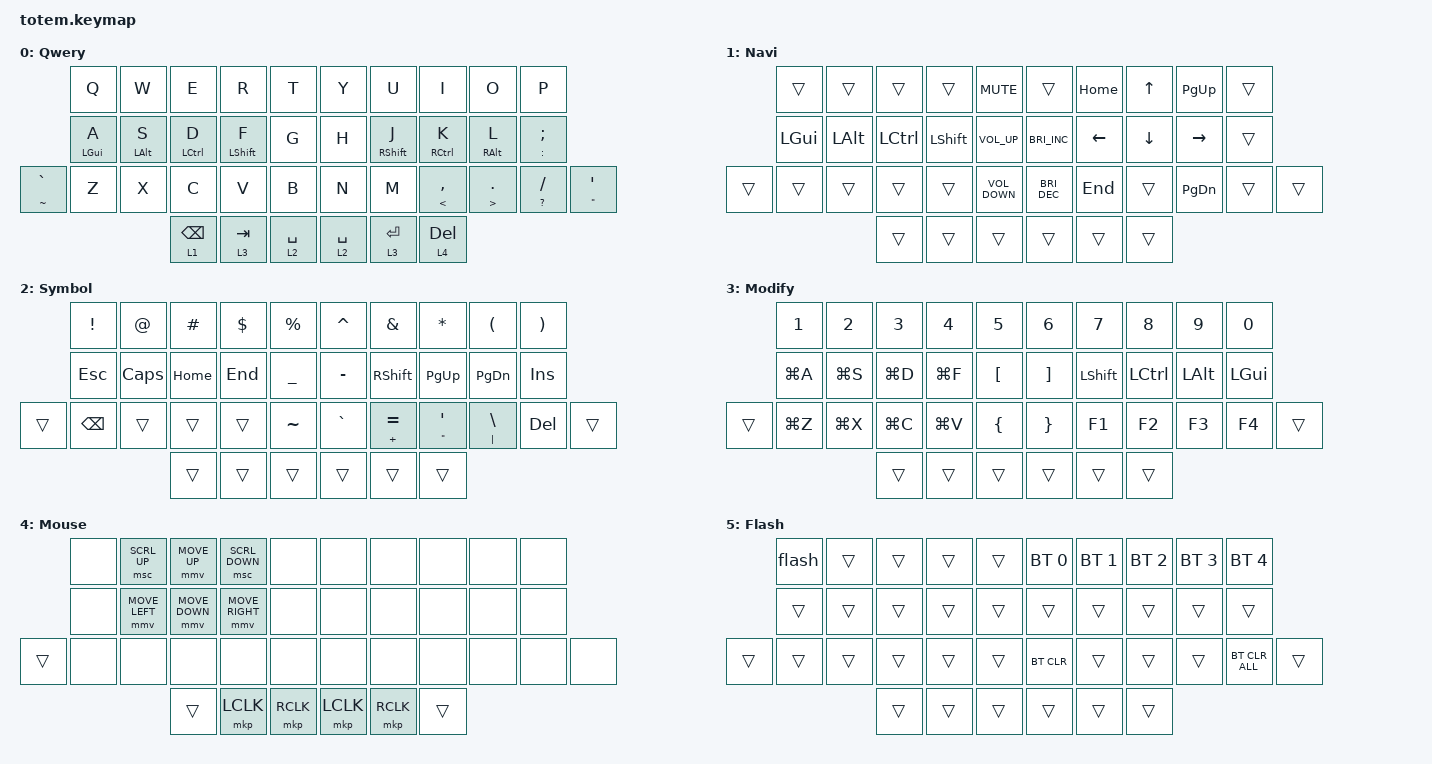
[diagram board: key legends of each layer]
//
//                                                        ▀▀▀▀▀     ▀▀▀▀▀          ▀▀█▀▀
//                                                        ▄▀▀▀▄  ▄  ▄▀▀▀▄  ▄  ▄▀▀▀▄  █  ▄▀▀▀▄
//                                                        █   █  █  █   █  █  █   █  █  █   █
//                                                         ▀▀▀   █   ▀▀▀   █   ▀▀▀   ▀   ▀▀▀
//                                                               █      ▄▄▄█▄▄▄    █   █  
//                                                               ▀      █  █  █     █▄█
//                                                             ▀▀▀▀▀    █  █  █      ▀
//                                                                      ▀  ▀  ▀
//
// ▄▄▄▄▄▄▄▄▄▄▄▄▄▄▄▄▄▄▄▄▄▄▄▄▄▄▄▄▄▄▄▄▄▄▄▄▄▄▄▄▄▄▄▄▄▄▄▄▄▄▄▄▄▄▄▄▄▄▄▄▄▄▄▄▄▄▄▄▄▄▄▄▄▄▄▄▄▄▄▄▄▄▄▄▄▄▄▄▄▄▄▄▄▄▄▄▄▄▄▄▄▄▄▄▄▄▄▄▄▄▄▄▄▄▄▄▄▄▄▄▄▄▄▄▄▄▄▄▄▄▄▄▄▄▄▄▄▄▄▄▄▄▄▄▄▄▄▄▄

#include <behaviors/mouse_keys.dtsi>
#include <behaviors.dtsi>
#include <dt-bindings/zmk/bt.h>
#include <dt-bindings/zmk/keys.h>
#include <dt-bindings/zmk/mouse.h>

#define BASE 0
#define NAV  1
#define SYM  2
#define ADJ  3
#define TVP1 4
#define TVP2 5

&mt {
    global-quick-tap;
    flavor = "tap-preferred";
    tapping-term-ms = <200>;
};

&sk {
    release-after-ms = <2000>;
    quick-release;
};

/ {
    combos {
        compatible = "zmk,combos";

        combo_esc {
            timeout-ms = <50>;
            key-positions = <0 1>;
            bindings = <&kp ESC>;
        };

        left_bkt {
            bindings = <&kp LEFT_BRACKET>;
            key-positions = <2 3>;
            timeout-ms = <50>;
        };

        right_bkt {
            bindings = <&kp RIGHT_BRACKET>;
            key-positions = <6 7>;
            timeout-ms = <50>;
        };

        left_par {
            bindings = <&kp LEFT_PARENTHESIS>;
            key-positions = <12 13>;
            timeout-ms = <50>;
        };

        right_par {
            bindings = <&kp RIGHT_PARENTHESIS>;
            key-positions = <16 17>;
            timeout-ms = <50>;
        };

        left_brace {
            bindings = <&kp LEFT_BRACE>;
            key-positions = <23 24>;
            timeout-ms = <50>;
        };

        right_brace {
            bindings = <&kp RIGHT_BRACE>;
            key-positions = <27 28>;
            timeout-ms = <50>;
        };

        bac {
            bindings = <&kp BACKSLASH>;
            key-positions = <4 5>;
            timeout-ms = <50>;
        };

        pipe {
            bindings = <&kp PIPE>;
            key-positions = <14 15>;
            timeout-ms = <50>;
        };
    };

    macros {
        flash: flash {
            compatible = "zmk,behavior-macro";
            #binding-cells = <0>;
            bindings = <&bootloader>;
            label = "FLASH";
        };
    };

    behaviors {
        hm: homerow_mods {
            compatible = "zmk,behavior-hold-tap";
            label = "HOMEROW_MODS";
            bindings = <&kp>, <&kp>;

            #binding-cells = <2>;
            tapping-term-ms = <200>;
            quick-tap-ms = <180>;
            flavor = "tap-preferred";
        };

        ltq: ltq {
            compatible = "zmk,behavior-hold-tap";
            label = "LTQ";
            bindings = <&mo>, <&kp>;

            #binding-cells = <2>;
            tapping-term-ms = <200>;
            quick-tap-ms = <180>;
        };

        as: auto_shift {
            compatible = "zmk,behavior-hold-tap";
            label = "AUTO_SHIFT";
            bindings = <&kp>, <&kp>;

            #binding-cells = <2>;
            tapping-term-ms = <135>;
            quick-tap-ms = <0>;
        };
    };

    keymap {
        compatible = "zmk,keymap";

        // ▄▄▄▄▄▄▄▄▄▄▄▄▄▄▄▄▄▄▄▄▄▄▄▄▄▄▄▄▄▄▄▄▄▄▄▄▄▄▄▄▄▄▄▄▄▄▄▄▄▄▄▄▄▄▄▄▄▄▄▄▄▄▄▄▄▄▄▄▄▄▄▄▄▄▄▄▄▄▄▄▄▄▄▄▄▄▄▄▄▄▄▄▄▄▄▄▄▄▄▄▄▄▄▄▄▄▄▄▄▄▄▄▄▄▄▄▄▄▄▄▄▄▄▄▄▄▄▄▄▄▄▄▄▄▄▄▄▄▄▄▄▄▄▄▄▄▄▄▄

        Qwery {
            // ┏━━━━━━━━━━━━━━━━━━━━━━━━━━━━━━━━━━━━━━━┓

            label = "Qwery";

            // ┗━━━━━━━━━━━━━━━━━━━━━━━━━━━━━━━━━━━━━━━┛
            //             ┏━━━━━━━━━━━┳━━━━━━━━━━━┳━━━━━━━━━━━┳━━━━━━━━━━━┳━━━━━━━━━━━┓   ┏━━━━━━━━━━━┳━━━━━━━━━━━┳━━━━━━━━━━━┳━━━━━━━━━━━┳━━━━━━━━━━━┓
            //             ┃     Q     ┃     W     ┃     F     ┃     P     ┃     G     ┃   ┃     J     ┃     L     ┃     U     ┃     Y     ┃     ;     ┃
            //             ┣━━━━━━━━━━━╋━━━━━━━━━━━╋━━━━━━━━━━━╋━━━━━━━━━━━╋━━━━━━━━━━━┫   ┣━━━━━━━━━━━╋━━━━━━━━━━━╋━━━━━━━━━━━╋━━━━━━━━━━━╋━━━━━━━━━━━┫
            //             ┃     A     ┃     R     ┃     S     ┃     T     ┃     D     ┃   ┃     H     ┃     N     ┃     E     ┃     I     ┃     O     ┃
            // ┏━━━━━━━━━━━╋━━━━━━━━━━━╋━━━━━━━━━━━╋━━━━━━━━━━━╋━━━━━━━━━━━╋━━━━━━━━━━━┫   ┣━━━━━━━━━━━╋━━━━━━━━━━━╋━━━━━━━━━━━╋━━━━━━━━━━━╋━━━━━━━━━━━╋━━━━━━━━━━━┓
            // ┃     Q     ┃     Z     ┃     X     ┃     C     ┃     V     ┃     B     ┃   ┃     K     ┃     M     ┃     ,     ┃     .     ┃     /     ┃     \     ┃
            // ┗━━━━━━━━━━━┻━━━━━━━━━━━┻━━━━━━━━━━━╋━━━━━━━━━━━╋━━━━━━━━━━━╋━━━━━━━━━━━┫   ┣━━━━━━━━━━━╋━━━━━━━━━━━╋━━━━━━━━━━━╋━━━━━━━━━━━┻━━━━━━━━━━━┻━━━━━━━━━━━┛
            //                                     ┃    DEL    ┃    TAB    ┃    SPC    ┃   ┃   ENTER   ┃           ┃   BSPC    ┃
            //                                     ┗━━━━━━━━━━━┻━━━━━━━━━━━┻━━━━━━━━━━━┛   ┗━━━━━━━━━━━┻━━━━━━━━━━━┻━━━━━━━━━━━┛

            bindings = <
                 &kp Q           &kp W           &kp E               &kp R             &kp T           &kp Y         &kp U              &kp I                &kp O                    &kp P
                 &hm LEFT_GUI A  &hm LEFT_ALT S  &hm LEFT_CONTROL D  &hm LEFT_SHIFT F  &kp G           &kp H         &hm RIGHT_SHIFT J  &hm RIGHT_CONTROL K  &hm RIGHT_ALT L          &as COLON SEMICOLON
&as TILDE GRAVE  &kp Z           &kp X           &kp C               &kp V             &kp B           &kp N         &kp M              &as LESS_THAN COMMA  &as GREATER_THAN PERIOD  &as QUESTION SLASH   &as DOUBLE_QUOTES SINGLE_QUOTE
                                                 &ltq 1 BACKSPACE    &ltq 3 TAB        &ltq 2 SPACE    &ltq 2 SPACE  &ltq 3 ENTER       &ltq 4 DELETE
            >;
        };

        // ▄▄▄▄▄▄▄▄▄▄▄▄▄▄▄▄▄▄▄▄▄▄▄▄▄▄▄▄▄▄▄▄▄▄▄▄▄▄▄▄▄▄▄▄▄▄▄▄▄▄▄▄▄▄▄▄▄▄▄▄▄▄▄▄▄▄▄▄▄▄▄▄▄▄▄▄▄▄▄▄▄▄▄▄▄▄▄▄▄▄▄▄▄▄▄▄▄▄▄▄▄▄▄▄▄▄▄▄▄▄▄▄▄▄▄▄▄▄▄▄▄▄▄▄▄▄▄▄▄▄▄▄▄▄▄▄▄▄▄▄▄▄▄▄▄▄▄▄▄

        Navi {
            // ┏━━━━━━━━━━━━━━━━━━━━━━━━━━━━━━━━━━━━━━━┓

            label = "Navi";

            // ┗━━━━━━━━━━━━━━━━━━━━━━━━━━━━━━━━━━━━━━━┛
            //             ┏━━━━━━━━━━━┳━━━━━━━━━━━┳━━━━━━━━━━━┳━━━━━━━━━━━┳━━━━━━━━━━━┓   ┏━━━━━━━━━━━┳━━━━━━━━━━━┳━━━━━━━━━━━┳━━━━━━━━━━━┳━━━━━━━━━━━┓
            //             ┃           ┃           ┃     UP    ┃           ┃     {     ┃   ┃     }     ┃     7     ┃     8     ┃     9     ┃     +     ┃
            //             ┣━━━━━━━━━━━╋━━━━━━━━━━━╋━━━━━━━━━━━╋━━━━━━━━━━━╋━━━━━━━━━━━┫   ┣━━━━━━━━━━━╋━━━━━━━━━━━╋━━━━━━━━━━━╋━━━━━━━━━━━╋━━━━━━━━━━━┫
            //             ┃   SHIFT   ┃   LEFT    ┃    DOWN   ┃   RIGHT   ┃     [     ┃   ┃     ]     ┃     4     ┃     5     ┃     6     ┃     -     ┃
            // ┏━━━━━━━━━━━╋━━━━━━━━━━━╋━━━━━━━━━━━╋━━━━━━━━━━━╋━━━━━━━━━━━╋━━━━━━━━━━━┫   ┣━━━━━━━━━━━╋━━━━━━━━━━━╋━━━━━━━━━━━╋━━━━━━━━━━━╋━━━━━━━━━━━╋━━━━━━━━━━━┓
            // ┃           ┃           ┃   P UP    ┃  C LOCK   ┃  P DOWN   ┃     (     ┃   ┃     )     ┃     1     ┃     2     ┃     3     ┃     *     ┃           ┃
            // ┗━━━━━━━━━━━┻━━━━━━━━━━━┻━━━━━━━━━━━╋━━━━━━━━━━━╋━━━━━━━━━━━╋━━━━━━━━━━━┫   ┣━━━━━━━━━━━╋━━━━━━━━━━━╋━━━━━━━━━━━╋━━━━━━━━━━━┻━━━━━━━━━━━┻━━━━━━━━━━━┛
            //                                     ┃           ┃    TAB    ┃    SPC    ┃   ┃    DEL    ┃     0     ┃           ┃
            //                                     ┗━━━━━━━━━━━┻━━━━━━━━━━━┻━━━━━━━━━━━┛   ┗━━━━━━━━━━━┻━━━━━━━━━━━┻━━━━━━━━━━━┛

            bindings = <
        &trans        &trans        &trans            &trans          &kp K_MUTE           &trans                &kp HOME        &kp UP_ARROW    &kp PAGE_UP      &trans
        &kp LEFT_GUI  &kp LEFT_ALT  &kp LEFT_CONTROL  &kp LEFT_SHIFT  &kp C_VOLUME_UP      &kp C_BRIGHTNESS_INC  &kp LEFT_ARROW  &kp DOWN_ARROW  &kp RIGHT_ARROW  &trans
&trans  &trans        &trans        &trans            &trans          &kp C_VOLUME_DOWN    &kp C_BRIGHTNESS_DEC  &kp END         &trans          &kp PAGE_DOWN    &trans  &trans
                                    &trans            &trans          &trans               &trans                &trans          &trans
            >;
        };

        // ▄▄▄▄▄▄▄▄▄▄▄▄▄▄▄▄▄▄▄▄▄▄▄▄▄▄▄▄▄▄▄▄▄▄▄▄▄▄▄▄▄▄▄▄▄▄▄▄▄▄▄▄▄▄▄▄▄▄▄▄▄▄▄▄▄▄▄▄▄▄▄▄▄▄▄▄▄▄▄▄▄▄▄▄▄▄▄▄▄▄▄▄▄▄▄▄▄▄▄▄▄▄▄▄▄▄▄▄▄▄▄▄▄▄▄▄▄▄▄▄▄▄▄▄▄▄▄▄▄▄▄▄▄▄▄▄▄▄▄▄▄▄▄▄▄▄▄▄▄

        Symbol {
            // ┏━━━━━━━━━━━━━━━━━━━━━━━━━━━━━━━━━━━━━━━┓

            label = "Symbol";

            // ┗━━━━━━━━━━━━━━━━━━━━━━━━━━━━━━━━━━━━━━━┛
            //             ┏━━━━━━━━━━━┳━━━━━━━━━━━┳━━━━━━━━━━━┳━━━━━━━━━━━┳━━━━━━━━━━━┓   ┏━━━━━━━━━━━┳━━━━━━━━━━━┳━━━━━━━━━━━┳━━━━━━━━━━━┳━━━━━━━━━━━┓
            //             ┃     !     ┃     @     ┃     #     ┃     $     ┃     %     ┃   ┃     ˆ     ┃     &     ┃     Ü     ┃     '     ┃     "     ┃
            //             ┣━━━━━━━━━━━╋━━━━━━━━━━━╋━━━━━━━━━━━╋━━━━━━━━━━━╋━━━━━━━━━━━┫   ┣━━━━━━━━━━━╋━━━━━━━━━━━╋━━━━━━━━━━━╋━━━━━━━━━━━╋━━━━━━━━━━━┫
            //             ┃     Ä     ┃           ┃    SZ     ┃           ┃           ┃   ┃   MUTE    ┃   YEN     ┃   EURO    ┃  POUND    ┃     Ö     ┃
            // ┏━━━━━━━━━━━╋━━━━━━━━━━━╋━━━━━━━━━━━╋━━━━━━━━━━━╋━━━━━━━━━━━╋━━━━━━━━━━━┫   ┣━━━━━━━━━━━╋━━━━━━━━━━━╋━━━━━━━━━━━╋━━━━━━━━━━━╋━━━━━━━━━━━╋━━━━━━━━━━━┓
            // ┃           ┃  EMAIL1   ┃  EMAIL2   ┃           ┃           ┃           ┃   ┃   VOL-    ┃   VOL+    ┃   LAST    ┃   NEXT    ┃     \     ┃           ┃
            // ┗━━━━━━━━━━━┻━━━━━━━━━━━┻━━━━━━━━━━━╋━━━━━━━━━━━╋━━━━━━━━━━━╋━━━━━━━━━━━┫   ┣━━━━━━━━━━━╋━━━━━━━━━━━╋━━━━━━━━━━━╋━━━━━━━━━━━┻━━━━━━━━━━━┻━━━━━━━━━━━┛
            //                                     ┃           ┃    GIF    ┃    ADJ    ┃   ┃           ┃           ┃           ┃
            //                                     ┗━━━━━━━━━━━┻━━━━━━━━━━━┻━━━━━━━━━━━┛   ┗━━━━━━━━━━━┻━━━━━━━━━━━┻━━━━━━━━━━━┛

            bindings = <
        &kp EXCL       &kp AT        &kp HASH  &kp DLLR  &kp PRCNT         &kp CARET  &kp AMPS         &kp ASTERISK           &kp LEFT_PARENTHESIS  &kp RIGHT_PARENTHESIS
        &kp ESC        &kp CAPSLOCK  &kp HOME  &kp END   &kp UNDERSCORE    &kp MINUS  &kp RIGHT_SHIFT  &kp PAGE_UP            &kp PAGE_DOWN         &kp INSERT
&trans  &kp BACKSPACE  &trans        &trans    &trans    &kp TILDE         &kp GRAVE  &as PLUS EQUAL   &as DOUBLE_QUOTES SQT  &as PIPE BACKSLASH    &kp DELETE             &trans
                                     &trans    &trans    &trans            &trans     &trans           &trans
            >;
        };

        // ▄▄▄▄▄▄▄▄▄▄▄▄▄▄▄▄▄▄▄▄▄▄▄▄▄▄▄▄▄▄▄▄▄▄▄▄▄▄▄▄▄▄▄▄▄▄▄▄▄▄▄▄▄▄▄▄▄▄▄▄▄▄▄▄▄▄▄▄▄▄▄▄▄▄▄▄▄▄▄▄▄▄▄▄▄▄▄▄▄▄▄▄▄▄▄▄▄▄▄▄▄▄▄▄▄▄▄▄▄▄▄▄▄▄▄▄▄▄▄▄▄▄▄▄▄▄▄▄▄▄▄▄▄▄▄▄▄▄▄▄▄▄▄▄▄▄▄▄▄

        Modify {
            // ┏━━━━━━━━━━━━━━━━━━━━━━━━━━━━━━━━━━━━━━━┓

            label = "Modify";

            // ┗━━━━━━━━━━━━━━━━━━━━━━━━━━━━━━━━━━━━━━━┛
            //             ┏━━━━━━━━━━━┳━━━━━━━━━━━┳━━━━━━━━━━━┳━━━━━━━━━━━┳━━━━━━━━━━━┓   ┏━━━━━━━━━━━┳━━━━━━━━━━━┳━━━━━━━━━━━┳━━━━━━━━━━━┳━━━━━━━━━━━┓
            //             ┃   RESET   ┃ BT CLEAR  ┃  OUT TOG  ┃           ┃           ┃   ┃           ┃    F7     ┃    F8     ┃    F9     ┃    F12    ┃
            //             ┣━━━━━━━━━━━╋━━━━━━━━━━━╋━━━━━━━━━━━╋━━━━━━━━━━━╋━━━━━━━━━━━┫   ┣━━━━━━━━━━━╋━━━━━━━━━━━╋━━━━━━━━━━━╋━━━━━━━━━━━╋━━━━━━━━━━━┫
            //             ┃ BOOTLOAD  ┃ BT NEXT   ┃           ┃           ┃           ┃   ┃           ┃    F4     ┃    F5     ┃    F6     ┃    F11    ┃
            // ┏━━━━━━━━━━━╋━━━━━━━━━━━╋━━━━━━━━━━━╋━━━━━━━━━━━╋━━━━━━━━━━━╋━━━━━━━━━━━┫   ┣━━━━━━━━━━━╋━━━━━━━━━━━╋━━━━━━━━━━━╋━━━━━━━━━━━╋━━━━━━━━━━━╋━━━━━━━━━━━┓
            // ┃           ┃           ┃ BT PREV   ┃           ┃           ┃           ┃   ┃           ┃    F1     ┃    F2     ┃    F3     ┃    F10    ┃           ┃
            // ┗━━━━━━━━━━━┻━━━━━━━━━━━┻━━━━━━━━━━━╋━━━━━━━━━━━╋━━━━━━━━━━━╋━━━━━━━━━━━┫   ┣━━━━━━━━━━━╋━━━━━━━━━━━╋━━━━━━━━━━━╋━━━━━━━━━━━┻━━━━━━━━━━━┻━━━━━━━━━━━┛
            //                                     ┃           ┃           ┃           ┃   ┃           ┃           ┃           ┃
            //                                     ┗━━━━━━━━━━━┻━━━━━━━━━━━┻━━━━━━━━━━━┛   ┗━━━━━━━━━━━┻━━━━━━━━━━━┻━━━━━━━━━━━┛

            bindings = <
        &kp NUMBER_1  &kp NUMBER_2  &kp NUMBER_3  &kp NUMBER_4  &kp N5              &kp NUMBER_6       &kp NUMBER_7    &kp NUMBER_8      &kp NUMBER_9  &kp NUMBER_0
        &kp LG(A)     &kp LG(S)     &kp LG(D)     &kp LG(F)     &kp LEFT_BRACKET    &kp RIGHT_BRACKET  &kp LEFT_SHIFT  &kp LEFT_CONTROL  &kp LEFT_ALT  &kp LEFT_GUI
&trans  &kp LG(Z)     &kp LG(X)     &kp LG(C)     &kp LG(V)     &kp LEFT_BRACE      &kp RIGHT_BRACE    &kp F1          &kp F2            &kp F3        &kp F4        &trans
                                    &trans        &trans        &trans              &trans             &trans          &trans
            >;
        };

        // ▄▄▄▄▄▄▄▄▄▄▄▄▄▄▄▄▄▄▄▄▄▄▄▄▄▄▄▄▄▄▄▄▄▄▄▄▄▄▄▄▄▄▄▄▄▄▄▄▄▄▄▄▄▄▄▄▄▄▄▄▄▄▄▄▄▄▄▄▄▄▄▄▄▄▄▄▄▄▄▄▄▄▄▄▄▄▄▄▄▄▄▄▄▄▄▄▄▄▄▄▄▄▄▄▄▄▄▄▄▄▄▄▄▄▄▄▄▄▄▄▄▄▄▄▄▄▄▄▄▄▄▄▄▄▄▄▄▄▄▄▄▄▄▄▄▄▄▄▄

        Mouse {
            // ┏━━━━━━━━━━━━━━━━━━━━━━━━━━━━━━━━━━━━━━━┓

            label = "Mouse";

            // ┗━━━━━━━━━━━━━━━━━━━━━━━━━━━━━━━━━━━━━━━┛
            //             ┏━━━━━━━━━━━┳━━━━━━━━━━━┳━━━━━━━━━━━┳━━━━━━━━━━━┳━━━━━━━━━━━┓   ┏━━━━━━━━━━━┳━━━━━━━━━━━┳━━━━━━━━━━━┳━━━━━━━━━━━┳━━━━━━━━━━━┓
            //             ┃ NEXT FILE ┃ MARK IN   ┃ ROTATE    ┃ MARK OUT  ┃ SHOW SNAP ┃   ┃           ┃           ┃           ┃           ┃           ┃
            //             ┣━━━━━━━━━━━╋━━━━━━━━━━━╋━━━━━━━━━━━╋━━━━━━━━━━━╋━━━━━━━━━━━┫   ┣━━━━━━━━━━━╋━━━━━━━━━━━╋━━━━━━━━━━━╋━━━━━━━━━━━╋━━━━━━━━━━━┫
            //             ┃ TVP II    ┃ LEFT      ┃ PAN       ┃ RIGHT     ┃ PLAY/FLIP ┃   ┃           ┃           ┃           ┃           ┃           ┃
            // ┏━━━━━━━━━━━╋━━━━━━━━━━━╋━━━━━━━━━━━╋━━━━━━━━━━━╋━━━━━━━━━━━╋━━━━━━━━━━━┫   ┣━━━━━━━━━━━╋━━━━━━━━━━━╋━━━━━━━━━━━╋━━━━━━━━━━━╋━━━━━━━━━━━╋━━━━━━━━━━━┓
            // ┃ FULLSCR   ┃ SHIFT     ┃ COPY      ┃ DELETE    ┃ PASTE     ┃ IMG MARK  ┃   ┃           ┃           ┃           ┃           ┃           ┃           ┃
            // ┗━━━━━━━━━━━┻━━━━━━━━━━━┻━━━━━━━━━━━╋━━━━━━━━━━━╋━━━━━━━━━━━╋━━━━━━━━━━━┫   ┣━━━━━━━━━━━╋━━━━━━━━━━━╋━━━━━━━━━━━╋━━━━━━━━━━━┻━━━━━━━━━━━┻━━━━━━━━━━━┛
            //                                     ┃           ┃ UNDO/SAVE ┃  SEL/MOV  ┃   ┃           ┃           ┃           ┃
            //                                     ┗━━━━━━━━━━━┻━━━━━━━━━━━┻━━━━━━━━━━━┛   ┗━━━━━━━━━━━┻━━━━━━━━━━━┻━━━━━━━━━━━┛

            bindings = <
        &none  &msc SCRL_UP    &mmv MOVE_UP    &msc SCRL_DOWN   &none        &none      &none      &none   &none  &none
        &none  &mmv MOVE_LEFT  &mmv MOVE_DOWN  &mmv MOVE_RIGHT  &none        &none      &none      &none   &none  &none
&trans  &none  &none           &none           &none            &none        &none      &none      &none   &none  &none  &none
                               &trans          &mkp LCLK        &mkp RCLK    &mkp LCLK  &mkp RCLK  &trans
            >;
        };

        Flash {
            bindings = <
        &flash  &trans  &trans  &trans  &trans    &bt BT_SEL 0  &bt BT_SEL 1  &bt BT_SEL 2  &bt BT_SEL 3  &bt BT_SEL 4
        &trans  &trans  &trans  &trans  &trans    &trans        &trans        &trans        &trans        &trans
&trans  &trans  &trans  &trans  &trans  &trans    &bt BT_CLR    &trans        &trans        &trans        &bt BT_CLR_ALL  &trans
                        &trans  &trans  &trans    &trans        &trans        &trans
            >;

            label = "Flash";
        };

        // ▄▄▄▄▄▄▄▄▄▄▄▄▄▄▄▄▄▄▄▄▄▄▄▄▄▄▄▄▄▄▄▄▄▄▄▄▄▄▄▄▄▄▄▄▄▄▄▄▄▄▄▄▄▄▄▄▄▄▄▄▄▄▄▄▄▄▄▄▄▄▄▄▄▄▄▄▄▄▄▄▄▄▄▄▄▄▄▄▄▄▄▄▄▄▄▄▄▄▄▄▄▄▄▄▄▄▄▄▄▄▄▄▄▄▄▄▄▄▄▄▄▄▄▄▄▄▄▄▄▄▄▄▄▄▄▄▄▄▄▄▄▄▄▄▄▄▄▄▄
    };

    conditional_layers {
        compatible = "zmk,conditional-layers";

        flash {
            if-layers = <2 3>;
            then-layer = <5>;
        };
    };
};
